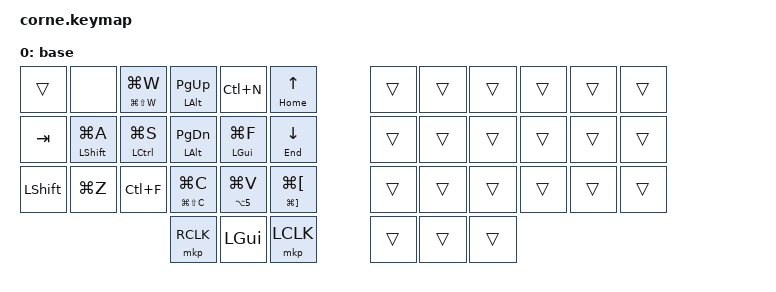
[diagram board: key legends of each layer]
/*
 * Copyright (c) 2020 The ZMK Contributors
 *
 * SPDX-License-Identifier: MIT
 */

#include <behaviors.dtsi>
#include <dt-bindings/zmk/bt.h>
#include <dt-bindings/zmk/keys.h>
#include <dt-bindings/zmk/pointing.h>

/ {
    macros {
        file_change_vscode: file_change_vscode {
            compatible = "zmk,behavior-macro";
            #binding-cells = <0>;
            bindings = <&kp LC(LS(S)) &kp LC(LS(Z))>;
            label = "FILE_CHANGE_VSCODE";
        };

        git_status: git_status {
            compatible = "zmk,behavior-macro";
            #binding-cells = <0>;
            bindings = <&kp LC(LS(GRAVE)) &kp G &kp S &kp T &kp ENTER>;
            label = "GIT_STATUS";
        };

        git_push: git_push {
            compatible = "zmk,behavior-macro";
            #binding-cells = <0>;
            bindings = <&kp LC(LS(GRAVE)) &kp G &kp G &kp P &kp U &kp S &kp H &kp ENTER>;
            label = "GIT_PUSH";
        };
    };

    combos {
        compatible = "zmk,combos";

        // Utils

        bootloader {
            bindings = <&bootloader>;
            key-positions = <29 4>;
            layers = <0>;
            timeout-ms = <50>;
            slow-release;
        };

        bluetooth_reset {
            bindings = <&bt BT_CLR>;
            key-positions = <29 3>;
            layers = <0>;
            timeout-ms = <50>;
            slow-release;
        };

        // Common

        show_all_app {
            bindings = <&kp LG(NUMBER_2)>;
            key-positions = <16 15>;
            layers = <0>;
            timeout-ms = <50>;
        };

        show_all_window {
            bindings = <&kp LG(NUMBER_1)>;
            key-positions = <14 15>;
            layers = <0>;
            timeout-ms = <50>;
        };

        search-all-vs-code {
            bindings = <&kp LG(LS(F))>;
            key-positions = <16 28>;
            layers = <0>;
            timeout-ms = <20>;
        };

        esc {
            bindings = <&kp ESC>;
            key-positions = <1 2>;
            layers = <0>;
            timeout-ms = <20>;
            slow-release;
        };

        lock {
            bindings = <&kp LG(L)>;
            key-positions = <25 26>;
            layers = <0>;
            timeout-ms = <20>;
            slow-release;
        };

        quit_app {
            bindings = <&kp LG(Q)>;
            key-positions = <37 1>;
            layers = <0>;
            timeout-ms = <50>;
            slow-release;
        };

        close_window {
            bindings = <&andy_press_hold_or_tap LG(LS(W)) LG(W)>;
            key-positions = <2 3>;
            layers = <0>;
            timeout-ms = <500>;
            slow-release;
        };

        close_window_2 {
            bindings = <&andy_press_hold_or_tap LG(LS(W)) LG(W)>;
            key-positions = <37 2>;
            layers = <0>;
            timeout-ms = <500>;
            slow-release;
        };

        refresh {
            bindings = <&kp LG(R)>;
            key-positions = <4 3>;
            layers = <0>;
            timeout-ms = <50>;
            slow-release;
        };

        refresh_2 {
            bindings = <&kp LG(R)>;
            key-positions = <37 4>;
            layers = <0>;
            timeout-ms = <50>;
            slow-release;
        };

        select_all {
            bindings = <&kp LG(A)>;
            key-positions = <37 13>;
            layers = <0>;
            timeout-ms = <50>;
            slow-release;
        };

        save {
            bindings = <&kp LG(S)>;
            key-positions = <37 14>;
            layers = <0>;
            timeout-ms = <50>;
        };

        undo {
            bindings = <&kp LG(Z)>;
            key-positions = <37 25>;
            layers = <0>;
            timeout-ms = <50>;
            slow-release;
        };

        search {
            bindings = <&kp LG(F)>;
            key-positions = <37 16>;
            layers = <0>;
            timeout-ms = <50>;
        };

        copy {
            bindings = <&andy_press_hold_or_tap LG(LS(C)) LG(C)>;
            key-positions = <37 27>;
            layers = <0>;
            timeout-ms = <500>;
            slow-release;
        };

        paste {
            bindings = <&kp LG(V)>;
            key-positions = <37 28>;
            layers = <0>;
            timeout-ms = <50>;
        };

        home {
            bindings = <&andy_press_hold_or_tap HOME UP_ARROW>;
            key-positions = <37 5>;
            layers = <0>;
            timeout-ms = <500>;
            slow-release;
        };

        end {
            bindings = <&andy_press_hold_or_tap END DOWN_ARROW>;
            key-positions = <37 17>;
            layers = <0>;
            timeout-ms = <500>;
            slow-release;
        };

        back_and_forward {
            bindings = <&andy_press_hold_or_tap LG(RIGHT_BRACKET) LG(LEFT_BRACKET)>;
            key-positions = <37 29>;
            layers = <0>;
            timeout-ms = <500>;
            slow-release;
        };

        recently_vs_code {
            bindings = <&kp LA(NUMBER_6)>;
            key-positions = <36 4>;
            layers = <0>;
            timeout-ms = <50>;
        };

        clipboard_history {
            bindings = <&kp LA(NUMBER_5)>;
            key-positions = <36 28>;
            layers = <0>;
            timeout-ms = <50>;
        };

        slack {
            bindings = <&kp LA(NUMBER_4)>;
            key-positions = <14 12>;
            layers = <0>;
            timeout-ms = <50>;
        };

        vscode {
            bindings = <&kp LA(NUMBER_1)>;
            key-positions = <12 15>;
            layers = <0>;
            timeout-ms = <50>;
        };

        browser {
            bindings = <&kp LA(NUMBER_2)>;
            key-positions = <12 13>;
            layers = <0>;
            timeout-ms = <50>;
        };

        vscode_changes {
            bindings = <&file_change_vscode>;
            key-positions = <27 28>;
            layers = <0>;
            timeout-ms = <50>;
        };

        delete {
            bindings = <&andy_press_hold_or_tap LG(BACKSPACE) BACKSPACE>;
            key-positions = <36 37>;
            layers = <0>;
            timeout-ms = <500>;
        };

        enter {
            bindings = <&kp ENTER>;
            key-positions = <37 38>;
            layers = <0>;
            timeout-ms = <50>;
        };
    };

    behaviors {
        andy_press_hold_or_tap: andy_press_hold_or_tap {
            compatible = "zmk,behavior-hold-tap";
            label = "ANDY_PRESS_HOLD_OR_TAP";
            bindings = <&kp>, <&kp>;

            #binding-cells = <2>;
            flavor = "tap-preferred";
            tapping-term-ms = <350>;
        };
    };

    keymap {
        compatible = "zmk,keymap";

        base {
            bindings = <
&trans          &none                                     &andy_press_hold_or_tap LG(LS(W)) LG(W)     &andy_press_hold_or_tap LEFT_ALT PAGE_UP    &kp LC(N)                                   &andy_press_hold_or_tap HOME UP_ARROW                         &trans  &trans  &trans  &trans  &trans  &trans
&kp TAB         &andy_press_hold_or_tap LEFT_SHIFT LG(A)  &andy_press_hold_or_tap LEFT_CONTROL LG(S)  &andy_press_hold_or_tap LEFT_ALT PAGE_DOWN  &andy_press_hold_or_tap LEFT_GUI LG(F)      &andy_press_hold_or_tap END DOWN_ARROW                        &trans  &trans  &trans  &trans  &trans  &trans
&kp LEFT_SHIFT  &kp LG(Z)                                 &kp LC(F)                                   &andy_press_hold_or_tap LG(LS(C)) LG(C)     &andy_press_hold_or_tap LA(NUMBER_5) LG(V)  &andy_press_hold_or_tap LG(RIGHT_BRACKET) LG(LEFT_BRACKET)    &trans  &trans  &trans  &trans  &trans  &trans
                                                                                                      &mkp RCLK                                   &kp LEFT_GUI                                &mkp LCLK                                                     &trans  &trans  &trans
            >;

            label = "base";
        };
    };
};
